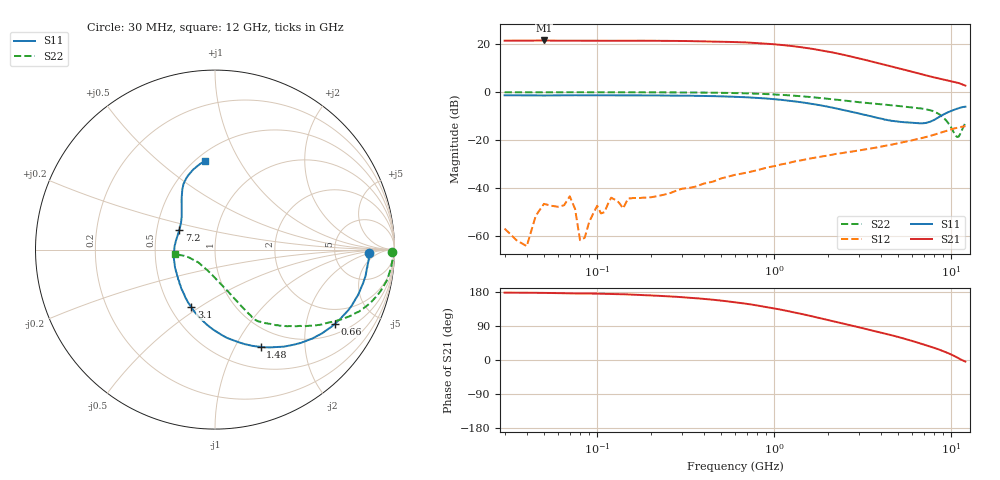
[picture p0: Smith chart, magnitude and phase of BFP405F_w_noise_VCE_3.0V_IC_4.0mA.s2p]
! Infineon Technologies  Discrete & RF Semiconductors
! BFP405F
! VCE =  3.0 V,  IC =  4.0 mA
! Common Emitter S-Parameters:  Nov 2015
# GHz  S  MA  R  50
!  f  S11  S21  S12  S22
! GHz  MAG  ANG  MAG  ANG  MAG  ANG  MAG  ANG
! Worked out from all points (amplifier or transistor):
!   239 points, 30 MHz to 12 GHz, reference 50 ohm
!   highest |S21| = 21.6 dB at 50 MHz (marker M1)
!   |S21| within 3 dB of that: start of sweep to 1.475 GHz
!   unconditionally stable (mu >= 1): 3.189 GHz to end of sweep
!   at 300 MHz: K = 0.11, MSG = 30.9 dB, |S12| = -40.4 dB
!   at 1.88 GHz: K = 0.59, MSG = 22.1 dB, |S12| = -26.9 dB
!   at 12 GHz: K = 1.49, MAG = 4.3 dB, |S12| = -14.2 dB
!   lowest NFmin = 1.20 dB at 450 MHz
!   S11 on the Smith chart (normalised r, x): 30 MHz: 13, -2; 660 MHz: 1.36, -2.93; 1.48 GHz: 0.75, -1.28; 3.1 GHz: 0.64, -0.47; 7.2 GHz: 0.66, +0.15; 12 GHz: 0.56, +0.72
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0.03  0.857 -1.3  11.88 177.8  0.0014 178.3  0.9888 -0.7
0.04  0.8549 -1.8  11.89 177.7  0.0006 106.0  0.9918 -0.9
0.05  0.848 -2.6  12.01 176.9  0.0046 84.6  0.999 -1.0
0.07  0.8598 -3.6  11.9 175.8  0.0066 135.8  0.9952 -1.5
0.08  0.8577 -3.9  11.83 175.4  0.0008 167.8  0.9927 -1.7
0.085  0.8575 -4.1  11.85 175.5  0.0009 79.8  0.9933 -2.0
0.1  0.8563 -4.9  11.83 175.0  0.0042 19.3  0.9918 -2.4
0.12  0.8542 -5.9  11.8 174.3  0.0062 82.1  0.9929 -2.7
0.14  0.8526 -7.0  11.85 173.6  0.0037 84.5  0.9917 -3.2
0.24  0.8478 -11.9  11.75 168.6  0.0072 85.7  0.987 -5.5
0.4  0.8289 -19.8  11.55 161.3  0.0122 83.1  0.9769 -9.2
0.6  0.797 -29.1  11.11 152.3  0.0186 78.4  0.9539 -13.6
0.66  0.785 -31.8  10.98 149.9  0.0199 76.9  0.9461 -14.8
1  0.7113 -46.6  9.99 136.0  0.0282 71.5  0.8923 -21.3
1.48  0.5989 -64.9  8.484 119.9  0.0385 64.4  0.8085 -28.5
1.64  0.5652 -70.4  8.014 115.2  0.0415 62.9  0.7814 -30.6
2.2  0.4607 -88.4  6.585 101.2  0.0505 57.8  0.6989 -37.2
3.1  0.3475 -112.2  4.931 84.8  0.0613 53.4  0.6076 -44.6
4.5  0.2559 -145.8  3.488 66.6  0.0787 50.5  0.5339 -51.7
7.2  0.2269 150.9  2.231 38.9  0.1146 44.6  0.4355 -60.8
10.8  0.4504 107.6  1.573 6.4  0.1798 28.8  0.1151 -127.0
12  0.4951 96.5  1.366 -4.2  0.1942 22.6  0.2268 -173.6
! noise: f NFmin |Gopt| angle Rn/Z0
0.45  1.2  0.44  5  0.35
0.9  1.21  0.41  13  0.38
1.5  1.29  0.38  19  0.33
1.9  1.32  0.36  25  0.33
2.4  1.49  0.34  35  0.35
3  1.56  0.32  46  0.32
3.5  1.61  0.31  55  0.29
4.5  1.77  0.24  70  0.26
5.5  2  0.15  83  0.16
